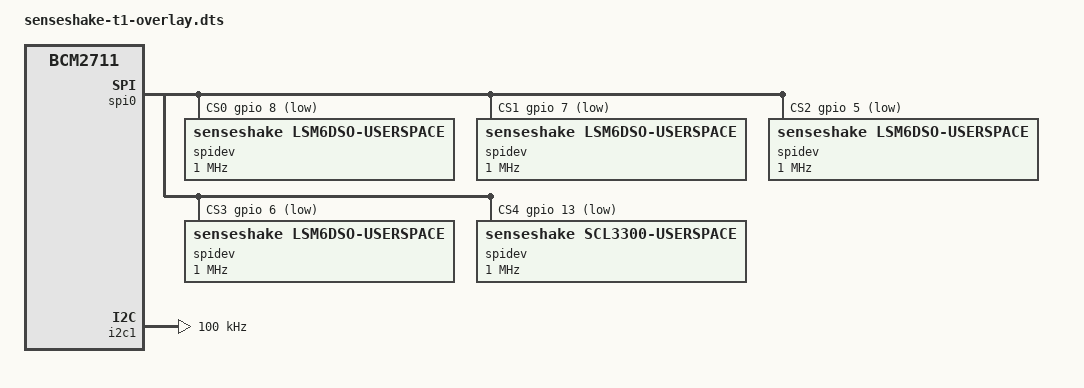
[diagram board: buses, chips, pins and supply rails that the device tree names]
/dts-v1/;
/plugin/;

/* Pi 4 / BCM2711: userspace acquisition owns these devices and GPIO events.
 * Do not combine with spi0-*cs, pps-gpio, w1-gpio or kernel IMU overlays.
 * No fabricated compatible string for an unrelated supported spidev device.
 * bind_spi.py explicitly selects spidev through Linux driver_override.
 */
/ {
    compatible = "brcm,bcm2711";
    fragment@0 {
        target = <&spi0_cs_pins>;
        __overlay__ {
            brcm,pins = <8 7 5 6 13>;
            brcm,function = <1>;
            brcm,pull = <2 2 2 2 2>;
        };
    };
    fragment@1 {
        target = <&spi0>;
        __overlay__ {
            #address-cells = <1>;
            #size-cells = <0>;
            status = "okay";
            num-cs = <5>;
            cs-gpios = <&gpio 8 1>, <&gpio 7 1>, <&gpio 5 1>, <&gpio 6 1>, <&gpio 13 1>;
            spidev@0 { compatible = "senseshake,lsm6dso-userspace"; reg = <0>; spi-max-frequency = <1000000>; status = "okay"; };
            spidev@1 { compatible = "senseshake,lsm6dso-userspace"; reg = <1>; spi-max-frequency = <1000000>; status = "okay"; };
            spidev@2 { compatible = "senseshake,lsm6dso-userspace"; reg = <2>; spi-max-frequency = <1000000>; status = "okay"; };
            spidev@3 { compatible = "senseshake,lsm6dso-userspace"; reg = <3>; spi-max-frequency = <1000000>; status = "okay"; };
            spidev@4 { compatible = "senseshake,scl3300-userspace"; reg = <4>; spi-max-frequency = <1000000>; status = "okay"; };
        };
    };
    fragment@2 {
        target = <&i2c1>;
        __overlay__ { status = "okay"; clock-frequency = <100000>; };
    };
};
